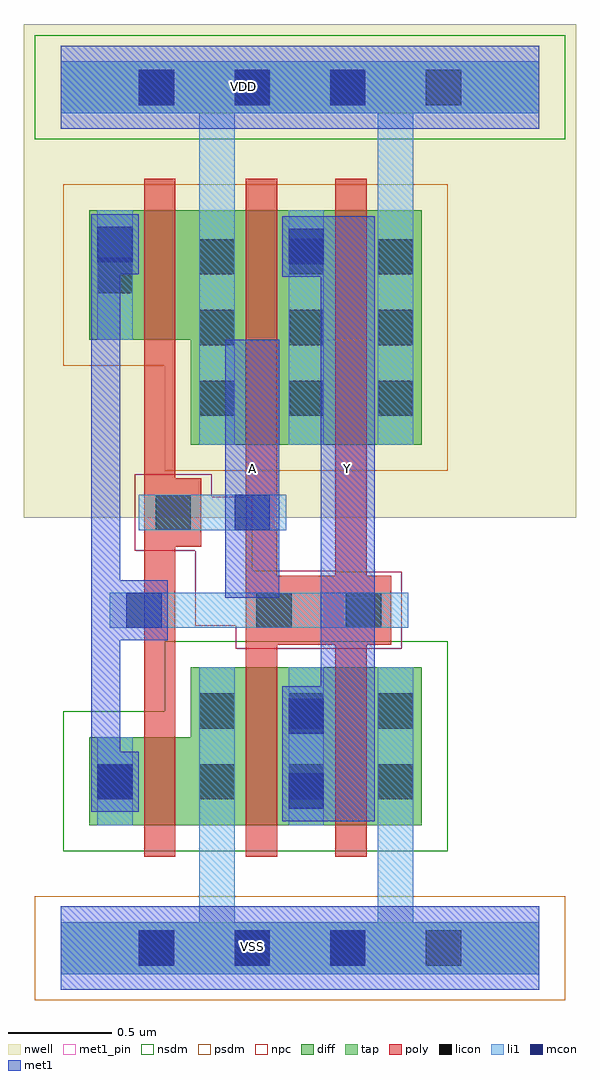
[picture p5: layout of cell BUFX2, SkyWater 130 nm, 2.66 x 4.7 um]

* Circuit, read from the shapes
.subckt BUFX2 A VDD VSS Y
XM1 VSS A n1 VSS sky130_fd_pr__nfet_01v8 w=0.425 l=0.15
XM2 Y n1 VSS VSS sky130_fd_pr__nfet_01v8 w=0.76 l=0.15 m=2
XM3 VDD A n1 VDD sky130_fd_pr__pfet_01v8 w=0.625 l=0.15
XM4 Y n1 VDD VDD sky130_fd_pr__pfet_01v8 w=1.13 l=0.15 m=2
.ends

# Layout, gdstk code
import gdstk
lib = gdstk.Library(unit=1e-6, precision=1e-09)
def R(c, l, rs):  # rectangles x0, y0, x1, y1
    for r in rs: c.add(gdstk.rectangle(r[:2], r[2:], *l))
def A(c, l, x, y, w, h, nx, ny, dx, dy):  # array of equal rectangles
    R(c, l, [(x+i*dx, y+j*dy, x+i*dx+w, y+j*dy+h) for i in range(nx) for j in range(ny)])
nwell = (64, 20)
diff = (65, 20)
tap = (65, 44)
poly = (66, 20)
licon = (66, 44)
li1 = (67, 20)
mcon = (67, 44)
met1_pin = (68, 16)
met1 = (68, 20)
nsdm = (93, 44)
psdm = (94, 20)
npc = (95, 20)

bufx2 = lib.new_cell('BUFX2')
R(bufx2, nwell, [(-0.18,2.07,2.48,4.445)])
R(bufx2, diff, [(0.135,0.59,1.735,1.015), (0.625,1.015,1.735,1.35), (0.625,2.42,1.735,2.925), (0.135,2.925,1.735,3.55)])
R(bufx2, tap, [(0,-0.125,2.3,0.125), (0,4.015,2.3,4.265)])
R(bufx2, poly, [(0.4,0.44,0.55,1.93), (0.89,0.44,1.04,1.46), (1.32,0.44,1.47,1.46), (0.89,1.46,1.59,1.79), (0.89,1.79,1.04,3.7), (1.32,1.79,1.47,3.7), (0.4,1.93,0.675,2.26), (0.4,2.26,0.55,3.7)])
A(bufx2, licon, 0.375, -0.085, 0.17, 0.17, 4, 2, 0.46, 4.14)
A(bufx2, licon, 0.665, 0.715, 0.17, 0.17, 3, 2, 0.43, 0.34)
A(bufx2, licon, 0.665, 2.56, 0.17, 0.17, 3, 3, 0.43, 0.34)
R(bufx2, licon, [(0.175,0.715,0.345,0.885), (0.94,1.54,1.11,1.71), (1.37,1.54,1.54,1.71), (0.455,2.01,0.625,2.18), (0.175,3.15,0.345,3.32)])
R(bufx2, li1, [(0,-0.125,2.3,0.125), (0.665,0.125,0.835,1.35), (1.525,0.125,1.695,1.35), (0.175,0.59,0.345,1.015), (1.095,0.59,1.265,1.35), (0.235,1.54,1.67,1.71), (0.375,2.01,1.085,2.18), (0.665,2.42,0.835,4.015), (1.095,2.42,1.265,3.55), (1.525,2.42,1.695,4.015), (0.175,2.925,0.345,3.55), (0,4.015,2.3,4.265)])
A(bufx2, mcon, 0.375, -0.085, 0.17, 0.17, 3, 2, 0.46, 4.14)
R(bufx2, mcon, [(1.095,0.67,1.265,0.84), (0.175,0.715,0.345,0.885), (1.095,1.03,1.265,1.2), (0.315,1.54,0.485,1.71), (0.835,2.01,1.005,2.18), (1.095,3.29,1.265,3.46), (0.175,3.3,0.345,3.47)])
R(bufx2, met1_pin, [(0.79,1.685,1.05,2.925), (1.25,1.685,1.51,2.925)])
R(bufx2, met1, [(0,-0.2,2.3,0.2), (1.065,0.61,1.51,1.26), (0.145,0.655,0.375,0.945), (0.145,0.945,0.285,1.48), (1.25,1.26,1.51,3.23), (0.145,1.48,0.515,1.77), (0.79,1.685,1.05,2.925), (0.145,1.77,0.285,3.24), (1.065,3.23,1.51,3.52), (0.145,3.24,0.375,3.53), (0,3.94,2.3,4.34)])
R(bufx2, nsdm, [(0.01,0.465,1.86,1.14), (0.5,1.14,1.86,1.475), (-0.125,3.89,2.425,4.39)])
R(bufx2, psdm, [(-0.125,-0.25,2.425,0.25), (0.5,2.295,1.86,2.8), (0.01,2.8,1.86,3.675)])
R(bufx2, npc, [(0.84,1.44,1.64,1.55), (0.645,1.55,1.64,1.81), (0.645,1.81,1.325,1.815), (0.645,1.815,0.92,1.91), (0.355,1.91,0.92,2.17), (0.355,2.17,0.725,2.28)])
bufx2.add(gdstk.Label('VSS', (0.92,0.005), layer=68, texttype=5))
bufx2.add(gdstk.Label('VDD', (0.88,4.145), layer=68, texttype=5))
bufx2.add(gdstk.Label('A', (0.92,2.305), layer=68, texttype=5))
bufx2.add(gdstk.Label('Y', (1.38,2.305), layer=68, texttype=5))

lib.write_gds('BUFX2.gds')
